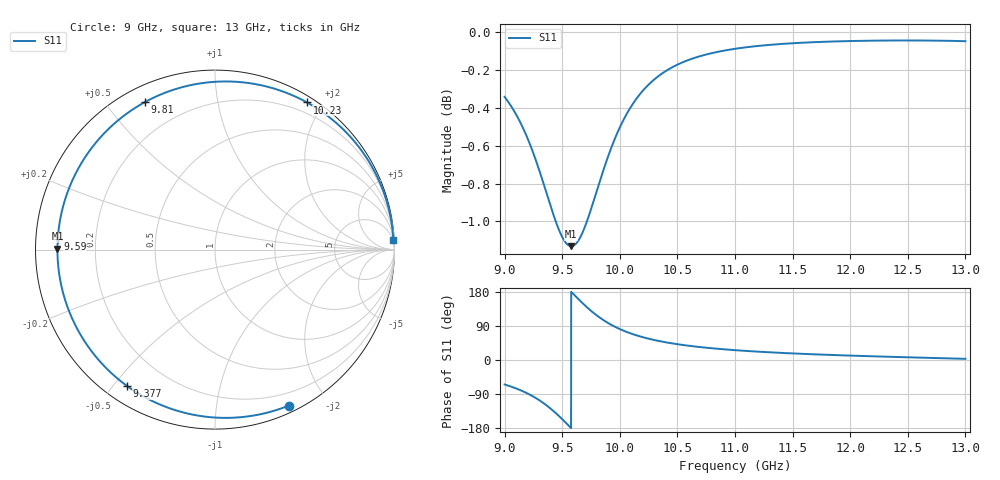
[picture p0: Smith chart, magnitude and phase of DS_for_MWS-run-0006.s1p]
! TOUCHSTONE file generated by CST DESIGN STUDIO
! Date and time: Tue Feb  4 17:16:57 2025
! Project name: C:\Work\MatlabApps\UnitCellOptimizationMatlab\CST\unitcell.cst
! Tree item: Tasks\Sweep1\SPara1\S-Parameters
! Header version: 2024
! Port assignment regex: !\s*Touchstone port\s*([0-9]+)\s*=\s*(CST MWS port|CST DES external port|CST DES block port)\s*(.+)\s* \(\"(.*)\"\)(\s*mode\s*([0-9]+))?.*
! Touchstone port assignment:
! Touchstone port 1 = CST DES external port 1 ("")
# GHz S MA R 50
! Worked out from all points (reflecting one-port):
!   4001 points, 9 GHz to 13 GHz, reference 50 ohm
!   lowest |S11| = -1.1 dB at 9.579 GHz (marker M1), VSWR 15.38, Z = 3.25 + j0.145 ohm
!   phase of S11 starts at -65 deg and turns -292 deg over the sweep
!   S11 on the Smith chart (normalised r, x): 9 GHz: 0.07, -1.58; 9.377 GHz: 0.07, -0.54; 9.59 GHz: 0.07, +0.03; 9.81 GHz: 0.07, +0.63; 10.23 GHz: 0.07, +1.80; 13 GHz: 4, +36
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9  0.9613 -64.7
9.044  0.9572 -68.9
9.111  0.9498 -76.4
9.227  0.9329 -92.8
9.306  0.9184 -107.2
9.377  0.9041 -122.8
9.437  0.8925 -138.2
9.5  0.8828 -156.1
9.54  0.8792 -168.2
9.579  0.8779 179.7
9.59  0.878 176.2
9.645  0.8814 159.3
9.707  0.89 141.3
9.758  0.8994 127.8
9.81  0.9099 115.4
9.852  0.9184 106.4
9.896  0.9267 98.0
10  0.9437 81.6
10.108  0.9568 68.7
10.227  0.967 58.0
10.353  0.9745 49.3
10.5  0.9804 41.7
10.721  0.9859 33.3
11  0.9899 25.9
11.5  0.9932 17.3
12  0.9946 11.6
12.5  0.9949 7.1
13  0.9945 3.1
